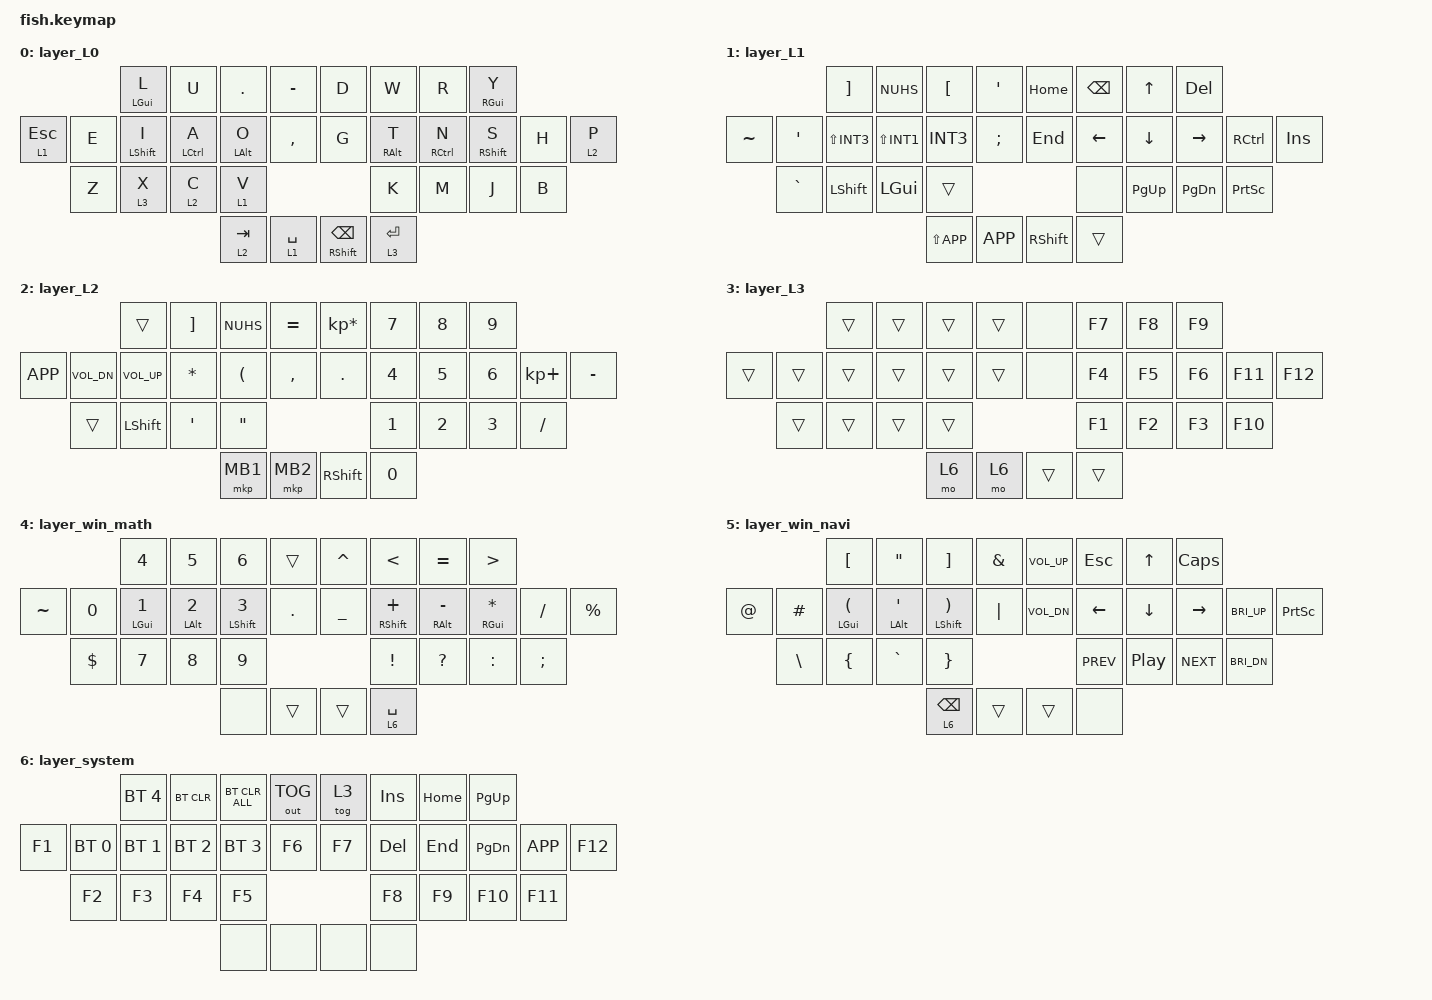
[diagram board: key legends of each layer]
// キーマップを更新する方法は https://o24.works/fish/guide を参照
// 視覚的に編集するには https://o24.works/fish/editor を参照


// 定義を呼んでくる
#include <behaviors.dtsi>
#include <dt-bindings/zmk/keys.h>
#include <dt-bindings/zmk/mouse.h>
#include <dt-bindings/zmk/bt.h>
#include <dt-bindings/zmk/outputs.h>


// 特殊入力の挙動を調整できる

&mt {
    flavor = "tap-preferred";
    tapping-term-ms = <225>;
    quick-tap-ms = <200>;
    require-prior-idle-ms = <150>;
};

&lt {
    flavor = "balanced";
    quick-tap-ms = <200>;
};

&sk {
};

&sl {
};

&caps_word {
};

&key_repeat {
};


/ {
    // 独自の入力を定義できる（上級者向け）

    behaviors {
    };

    macros {
    };

    conditional_layers {
    };


    // 複数キーの同時押しに特別の入力を設定できる
    // キー番号早見表：
    //       0  1  2  3     4  5  6  7
    // 8  9 10 11 12 13    14 15 16 17 18 19
    //   20 21 22 23          24 25 26 27
    //            28 29    30 31

    combos {
        compatible = "zmk,combos";
        timeout-ms = <150>;
        require-prior-idle-ms = <150>;

        combo_mt_lshft_int5 {
            key-positions = <21 22>;
            bindings = <&mt LSHFT INT5>;
        };

        combo_mt_rshft_int4 {
            key-positions = <25 26>;
            bindings = <&mt RSHFT INT4>;
        };

        combo_f {
            key-positions = <4 14>;
            bindings = <&kp F>;
        };

        combo_mo_1 {
            key-positions = <30 31>;
            bindings = <&mo 1>;
        };

        combo_fslh {
            key-positions = <3 13>;
            bindings = <&kp FSLH>;
        };

        combo_q {
            key-positions = <9 20>;
            bindings = <&kp Q>;
        };

        combo_mo_3 {
            key-positions = <28 29>;
            bindings = <&mo 3>;
        };
    };
    

    // キーに入力を割り当てる
    // 型（&...）は https://zmk.dev/docs/behaviors/... を参照
    // キーコードは https://zmk.dev/docs/codes/... を参照

    keymap {
        compatible = "zmk,keymap";

        layer_L0 {
            bindings = <
                        &mt LGUI L  &kp U       &kp DOT     &kp MINUS           &kp D       &kp W       &kp R       &mt RGUI Y  
&lt 1 ESC   &kp E       &mt LSHFT I &mt LCTRL A &mt LALT O  &kp COMMA           &kp G       &mt RALT T  &mt RCTRL N &mt RSHFT S &kp H       &lt 2 P     
            &kp Z       &lt 3 X     &lt 2 C     &lt 1 V                                     &kp K       &kp M       &kp J       &kp B       
                                                &lt 2 TAB   &lt 1 SPACE         &mt RSHFT BSPC &lt 3 RET 
            >;
        };

        layer_L1 {
            bindings = <
                        &kp RBKT    &kp NUHS    &kp LBKT    &kp SQT             &kp HOME    &kp BSPC    &kp UP      &kp DEL     
&kp TILDE   &kp SQT     &kp LS(INT3) &kp LS(INT1) &kp INT3  &kp SEMI            &kp END     &kp LEFT    &kp DOWN    &kp RIGHT   &kp RCTRL   &kp INS     
            &kp GRAVE   &kp LSHFT   &kp LGUI    &trans                                      &none       &kp PG_UP   &kp PG_DN   &kp PSCRN   
                                                &kp LS(K_APP) &kp K_APP         &kp RSHFT   &trans      
            >;
        };

        layer_L2 {
            bindings = <
                        &trans      &kp RBKT    &kp NUHS    &kp EQUAL           &kp KP_MULTIPLY &kp N7  &kp N8      &kp N9      
&kp K_APP   &kp C_VOL_DN &kp C_VOL_UP &kp STAR  &kp LPAR    &kp COMMA           &kp DOT     &kp N4      &kp N5      &kp N6      &kp KP_PLUS &kp MINUS   
            &trans      &kp LSHFT   &kp SQT     &kp DQT                                     &kp N1      &kp N2      &kp N3      &kp FSLH    
                                                &mkp MB1    &mkp MB2            &kp RSHFT   &kp N0      
            >;
        };

        layer_L3 {
            bindings = <
                        &trans      &trans      &trans      &trans              &none       &kp F7      &kp F8      &kp F9      
&trans      &trans      &trans      &trans      &trans      &trans              &none       &kp F4      &kp F5      &kp F6      &kp F11     &kp F12     
            &trans      &trans      &trans      &trans                                      &kp F1      &kp F2      &kp F3      &kp F10     
                                                &mo 6       &mo 6               &trans      &trans      
            >;
        };

        layer_win_math {
            bindings = <
                        &kp N4      &kp N5      &kp N6      &trans              &kp CARET   &kp LT      &kp EQUAL   &kp GT      
&kp TILDE   &kp N0      &mt LGUI N1 &mt LALT N2 &mt LSHFT N3 &kp DOT            &kp UNDER   &mt RSHFT PLUS &mt RALT MINUS &mt RGUI STAR &kp FSLH &kp PRCNT 
            &kp DLLR    &kp N7      &kp N8      &kp N9                                      &kp EXCL    &kp QMARK   &kp COLON   &kp SEMI    
                                                &none       &trans              &trans      &lt 6 SPACE 
            >;
        };

        layer_win_navi {
            bindings = <
                        &kp LBKT    &kp DQT     &kp RBKT    &kp AMPS            &kp C_VOL_UP &kp ESC    &kp UP      &kp CAPS    
&kp AT      &kp HASH    &mt LGUI LPAR &mt LALT SQT &mt LSHFT RPAR &kp PIPE      &kp C_VOL_DN &kp LEFT   &kp DOWN    &kp RIGHT   &kp C_BRI_UP &kp PSCRN  
            &kp BSLH    &kp LBRC    &kp GRAVE   &kp RBRC                                    &kp C_PREV  &kp C_PP    &kp C_NEXT  &kp C_BRI_DN 
                                                &lt 6 BSPC  &trans              &trans      &none       
            >;
        };

        layer_system {
            bindings = <
                        &bt BT_SEL 4 &bt BT_CLR &bt BT_CLR_ALL &out OUT_TOG     &tog 3      &kp INS     &kp HOME    &kp PG_UP   
&kp F1      &bt BT_SEL 0 &bt BT_SEL 1 &bt BT_SEL 2 &bt BT_SEL 3 &kp F6          &kp F7      &kp DEL     &kp END     &kp PG_DN   &kp K_APP   &kp F12     
            &kp F2      &kp F3      &kp F4      &kp F5                                      &kp F8      &kp F9      &kp F10     &kp F11     
                                                &none       &none               &none       &none       
            >;
        };
    };
};
